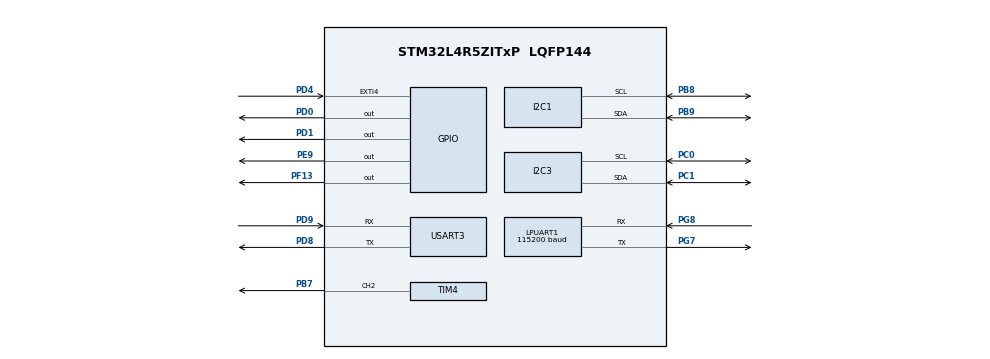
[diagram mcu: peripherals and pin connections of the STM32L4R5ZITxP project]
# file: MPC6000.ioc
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LPUART1.BaudRate=115200
LPUART1.WordLength=UART_WORDLENGTH_8B
Mcu.Family=STM32L4
Mcu.Name=STM32L4R5ZITxP
Mcu.Package=LQFP144
NVIC.EXTI4_IRQn=true\:0\:0\:false\:false\:true\:true\:true
NVIC.PriorityGroup=NVIC_PRIORITYGROUP_4
PA0.Signal=S_TIM2_CH1
PA1.Signal=ADCx_IN6
PA10.Signal=USB_OTG_FS_ID
PA13\ (JTMS/SWDIO).Signal=SYS_JTMS-SWDIO
PA14\ (JTCK/SWCLK).Signal=SYS_JTCK-SWCLK
PA3.Signal=ADCx_IN8
PA4.Signal=SPI1_NSS
PA5.Signal=SPI1_SCK
PA6.Signal=SPI1_MISO
PA7.Signal=SPI1_MOSI
PA8.Signal=USB_OTG_FS_SOF
PA9.Signal=USB_OTG_FS_VBUS
PB0.Signal=S_TIM3_CH3
PB1.Signal=ADCx_IN16
PB10.Signal=S_TIM2_CH3
PB12.Signal=SAI2_FS_A
PB13.Signal=SAI2_SCK_A
PB14.Signal=S_TIM15_CH1
PB15.Signal=SAI2_SD_A
PB2.Signal=COMP1_INP
PB3\ (JTDO/TRACESWO).Signal=SPI3_SCK
PB4\ (NJTRST).Signal=SPI3_MISO
PB5.Signal=SPI3_MOSI
PB6.Signal=COMP2_INP
PB7.Signal=S_TIM4_CH2
PB8.Mode=I2C
PB8.Signal=I2C1_SCL
PB9.Mode=I2C
PB9.Signal=I2C1_SDA
PC0.Mode=I2C
PC0.Signal=I2C3_SCL
PC1.Mode=I2C
PC1.Signal=I2C3_SDA
PC10.Signal=SDMMC1_D2
PC11.Signal=SDMMC1_D3
PC12.Signal=SDMMC1_CK
PC13.Signal=SYS_WKUP2
PC14-OSC32_IN\ (PC14).Signal=RCC_OSC32_IN
PC15-OSC32_OUT\ (PC15).Signal=RCC_OSC32_OUT
PC2.Signal=ADCx_IN3
PC3.Signal=ADCx_IN4
PC4.Signal=ADCx_IN13
PC5.Signal=ADCx_IN14
PC6.Signal=SAI2_MCLK_A
PC7.Signal=S_TIM3_CH2
PC8.Signal=SDMMC1_D0
PC9.Signal=SDMMC1_D1
PD0.Signal=GPIO_Output
PD1.Signal=GPIO_Output
PD14.Signal=S_TIM4_CH3
PD15.Signal=S_TIM4_CH4
PD2.Signal=SDMMC1_CMD
PD3.Signal=USART2_CTS
PD4.Signal=GPXTI4
PD5.Signal=USART2_TX
PD6.Signal=USART2_RX
PD8.Mode=Asynchronous
PD8.Signal=USART3_TX
PD9.Mode=Asynchronous
PD9.Signal=USART3_RX
PE0.Signal=S_TIM4_ETR
PE10.Signal=TIM1_CH2N
PE11.Signal=S_TIM1_CH2
PE12.Signal=TIM1_CH3N
PE13.Signal=S_TIM1_CH3
PE14.Signal=TIM1_BKIN2
PE15.Signal=TIM1_BKIN
PE2.Signal=SAI1_MCLK_A
PE3.Signal=SAI1_SD_B
PE7.Signal=S_TIM1_ETR
PE8.Signal=TIM1_CH1N
PE9.Signal=GPIO_Output
PF0.Signal=I2C2_SDA
PF1.Signal=I2C2_SCL
PF13.Signal=GPIO_Output
PF2.Signal=I2C2_SMBA
PF7.Signal=SAI1_MCLK_B
PG7.Mode=Asynchronous
PG7.Signal=LPUART1_TX
PG8.Mode=Asynchronous
PG8.Signal=LPUART1_RX
PH0-OSC_IN\ (PH0).Signal=RCC_OSC_IN
PH1-OSC_OUT\ (PH1).Signal=RCC_OSC_OUT
ProjectManager.HeapSize=0x200
ProjectManager.StackSize=0x400
ProjectManager.TargetToolchain=STM32CubeIDE
RCC.HSE_VALUE=8000000
RCC.HSI48_VALUE=48000000
RCC.HSI_VALUE=16000000
RCC.LSE_VALUE=32768
RCC.MSI_VALUE=4000000
RCC.VCOOutputFreq_Value=32000000
SH.ADCx_IN13.0=ADC1_IN13
SH.ADCx_IN14.0=ADC1_IN14
SH.ADCx_IN16.0=ADC1_IN16
SH.ADCx_IN3.0=ADC1_IN3
SH.ADCx_IN4.0=ADC1_IN4
SH.ADCx_IN6.0=ADC1_IN6
SH.ADCx_IN8.0=ADC1_IN8
SH.S_TIM15_CH1.0=TIM15_CH1
SH.S_TIM1_CH2.0=TIM1_CH2
SH.S_TIM1_CH3.0=TIM1_CH3
SH.S_TIM1_ETR.0=TIM1_ETR
SH.S_TIM2_CH1.0=TIM2_CH1
SH.S_TIM2_CH3.0=TIM2_CH3
SH.S_TIM3_CH2.0=TIM3_CH2
SH.S_TIM3_CH3.0=TIM3_CH3
SH.S_TIM4_CH2.0=TIM4_CH2,PWM Generation2 CH2
SH.S_TIM4_CH3.0=TIM4_CH3
SH.S_TIM4_CH4.0=TIM4_CH4
SH.S_TIM4_ETR.0=TIM4_ETR
TIM4.Channel-PWM\ Generation2\ CH2=TIM_CHANNEL_2
TIM4.OCPolarity_2=TIM_OCPOLARITY_HIGH
TIM4.Period=2000
TIM4.Pulse-PWM\ Generation2\ CH2=1000
USART3.VirtualMode-Asynchronous=VM_ASYNC
VP_TIM4_VS_ClockSourceINT.Mode=Internal
board=NUCLEO-L4R5ZI-P

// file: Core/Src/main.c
/* USER CODE BEGIN Header */
/**
  ******************************************************************************
  * @file           : main.c
  * @brief          : Main program body
  ******************************************************************************
  * @attention
  *
  * Copyright (c) 2022 STMicroelectronics.
  * All rights reserved.
  *
  * This software is licensed under terms that can be found in the LICENSE file
  * in the root directory of this software component.
  * If no LICENSE file comes with this software, it is provided AS-IS.
  *
  ******************************************************************************
  */
/* USER CODE END Header */
#include "main.h"

/* USER CODE BEGIN Includes */
#include <stdio.h>
#include <stdlib.h>

#include "HAL_FONA.h"

/* USER CODE END Includes */

/* USER CODE BEGIN PM */
#define MPU_SampleRate 80 /* in Hz */
#define FALL_DETECT_SAMPLES 40 /*in samples .. = 0.5 * MPU_SampleRate */
#define Write_HM 0xAA
#define Read_HM 0xAB
#define HM_ADDR 0x55 // Without w/r bit.

//#define ACC_LFT_SQ    0.09 /* 0.3 g */
//#define ACC_UFT_SQ 7.67 /* 2.77 g */
//#define GYR_UFT_SQ 64719.36 /* in 254.4 deg/s */

/* for demo only */
#define ACC_LFT_SQ 1.44 /* for demo */
#define ACC_UFT_SQ 7.67 /* 2.77 g */
#define GYR_UFT_SQ 0 /* for demo */

int fall_detected = 0;
// int initialized = 0;

/* USER CODE END PM */

I2C_HandleTypeDef hi2c1;
I2C_HandleTypeDef hi2c3;

UART_HandleTypeDef hlpuart1;
UART_HandleTypeDef huart3;

TIM_HandleTypeDef htim4;

/* USER CODE BEGIN PV */
extern char const * const ok_reply_c;
extern const int reply_buff_size_c;
extern const int fona_def_timeout_ms_c;

extern const HAL_GPIO_t rst_pin; // PF13
extern const HAL_GPIO_t pwr_pin; // PE09

static const GPIO_t rst_pin_c  = { GPIO_OUTPUT, 'D', 0 };
static const GPIO_t mfio_pin_c = { GPIO_OUTPUT, 'D', 1 };
static const uint8_t def_sample_rate = 100; // 100 Hz

char message_buffer[1024];
char const * const init_mess ="Hello World!";

/* USER CODE END PV */

void SystemClock_Config(void);
static void MX_GPIO_Init(void);
static void MX_I2C3_Init(void);
static void MX_LPUART1_UART_Init(void);
static void MX_TIM4_Init(void);
static void MX_USART3_UART_Init(void);
static void MX_I2C1_Init(void);
/* USER CODE BEGIN PFP */
void Beep_reset( );
/* USER CODE END PFP */

/* USER CODE BEGIN 0 */

/* MPU is connected to I2C3.
 * Here is the code that hanles I2C reads and writes to MPU
 * */

#define MPU_SAD_R 0b11010001 // The last bit corresponds to R
#define MPU_SAD_W 0b11010000

#define MPU_SAD 0b1101000
uint8_t MPUbuf[10] = {0};
void readMPU(uint8_t* val, uint8_t reg_addr, size_t len){
      HAL_StatusTypeDef ret;
      MPUbuf[0] = reg_addr;
      ret = HAL_I2C_Master_Transmit(&hi2c3, MPU_SAD_W, &MPUbuf[0], 1, 1000);
      if (ret != HAL_OK) {
          printf("Error reading Data from MPU reg: %d \n", reg_addr);
          return;
      }
      ret = HAL_I2C_Master_Receive(&hi2c3, MPU_SAD_R, &MPUbuf[0], len, 1000);
      if (ret != HAL_OK) printf("Error reading Data from MPU reg: %d size: %d\n", reg_addr, len);
      for(size_t i=0; i<len; i++)
          val[i] = MPUbuf[i];
}

void writeMPU(uint8_t val, uint8_t reg_addr){
    HAL_StatusTypeDef ret;
    MPUbuf[0] = reg_addr;
    MPUbuf[1] = val;
    ret = HAL_I2C_Master_Transmit(&hi2c3, MPU_SAD_W, &MPUbuf[0], 2, 1000);
    if (ret != HAL_OK) printf("Error writing to MPU reg: %d = %d\n", reg_addr, val);
}

#define MPU_SMPRT_DIV           0x19
#define MPU_CONFIG_REG          0x1a
#define MPU_GYRO_CONFIG         0x1b
#define MPU_ACC_CONFIG          0x1c
#define MPU_PWR_MGMT_1          0x6b
#define MPU_WHO_AM_I            0x75
#define MPU_INT_ENABLE          0x38
#define MPU_INT_STATUS          0x3a

/* measurements*/
#define MPU_ACC_X_OUT           0x3b
#define MPU_GYRO_X_OUT          0x43

#define MPU_OUTPUT_RATE         8000 // default output rate in Hz

int tryMPU(){
      uint8_t mpu_id;
      readMPU(&mpu_id, MPU_WHO_AM_I, 1);
      printf("Setting up MPU Device on I2C3...\n");
      if (mpu_id != 104) {
          printf("[ERROR] MPU I2C ID verification Failed!!!\n");
          return 1;
      }
      // reset and wait up from sleep
      uint8_t mpu_pwr_1= 0b10000000;
      writeMPU(mpu_pwr_1, MPU_PWR_MGMT_1);
      HAL_Delay(100);
      mpu_pwr_1 = 0;
      writeMPU(mpu_pwr_1, MPU_PWR_MGMT_1);

      // config sampling rate
      uint8_t mpu_sample_div = MPU_OUTPUT_RATE / MPU_SampleRate;
      writeMPU(mpu_sample_div, MPU_SMPRT_DIV);

      // config reg
      uint8_t mpu_config_reg;
      mpu_config_reg = 0b001 << 3;
      writeMPU(mpu_config_reg, MPU_CONFIG_REG);

      // gyro config
      uint8_t mpu_gyro_config = 0b11 << 3;
      writeMPU(mpu_gyro_config, MPU_GYRO_CONFIG);
      readMPU(&mpu_gyro_config, MPU_GYRO_CONFIG, 1);
      if (mpu_gyro_config != 0b11 << 3) {
          printf("[ERROR] MPU GyroMeter Setup Failed!!!");
          return 1;
      }

      // Acc config
      uint8_t mpu_acc_config;
      mpu_acc_config = 0b11 << 3;
      writeMPU(mpu_acc_config, MPU_ACC_CONFIG);
      readMPU(&mpu_acc_config, MPU_ACC_CONFIG, 1);
      if (mpu_acc_config != 0b11 << 3) {
          printf("[ERROR] MPU Acc Setup Failed!!!\n");
          return 1;
      }

      // Generate interrupt at each data ready
      // set DATA_RDY_EN = 1
      uint8_t mpu_int_enable;
      mpu_int_enable = 0b1;
      writeMPU(mpu_int_enable, MPU_INT_ENABLE);
      readMPU(&mpu_int_enable, MPU_INT_ENABLE, 1);
      if (mpu_int_enable != 1) {
          printf("[ERROR] MPU interrupt Setup Failed!!!\n");
          return 1;
      }

      printf("...MPU Setup Success\n");
      Beep_reset(); // Ok to enable interrupts now
      return 0;
}

void SetupMPU(){
    while(tryMPU()){
        HAL_Delay(100);
    }
}

void MPUSleep(){
    uint8_t mpu_pwr_1 = 1 << 6;
      writeMPU(mpu_pwr_1, MPU_PWR_MGMT_1);
}

typedef struct MPU_measure{
    float Accx;
    float Accy;
    float Accz;
    float Gyrx;
    float Gyry;
    float Gyrz;
}MPU_measure;

MPU_measure getMPU(){
    MPU_measure rt;
    // Read from x-axis:
      uint8_t raw_acc[6];
      readMPU(raw_acc, MPU_ACC_X_OUT, 6);
      int16_t raw_x, raw_y, raw_z;
      raw_x = raw_acc[0] << 8 | raw_acc[1];
      raw_y = raw_acc[2] << 8 | raw_acc[3];
      raw_z = raw_acc[4] << 8 | raw_acc[5];
      rt.Accx = (float)(raw_x)/2048.0;
      rt.Accy = (float)(raw_y)/2048.0;
      rt.Accz = (float)(raw_z)/2048.0;
//    printf("Acc X: %f Gs Y: %f Gs Z: %f Gs \n", Accx, Accy, Accz);
      uint8_t raw_gyro[6];
      readMPU(raw_gyro, MPU_GYRO_X_OUT, 6);
      int16_t raw_x_g, raw_y_g, raw_z_g;
      raw_x_g = raw_gyro[0] << 8 | raw_gyro[1];
      raw_y_g = raw_gyro[2] << 8 | raw_gyro[3];
      raw_z_g = raw_gyro[4] << 8 | raw_gyro[5];
      rt.Gyrx = (float)(raw_x_g)/65.532;
      rt.Gyry = (float)(raw_y_g)/65.532;
      rt.Gyrz = (float)(raw_z_g)/65.532;
//    printf("Gyro X: %f deg/s Y: %f deg/s Z: %f deg/s\n", Gx, Gy, Gz);
      return rt;
}

unsigned int fall_window=0;

/* pushes MPU data to usb */

void detect_fall(MPU_measure m){
    float accsq;
    accsq = m.Accx * m.Accx + m.Accy * m.Accy + m.Accz * m.Accz;
    if (accsq <= ACC_LFT_SQ && !fall_window)
        fall_window = FALL_DETECT_SAMPLES;
    if (!fall_window) return;
    fall_window--;
    if (accsq < ACC_UFT_SQ) return;
    float gyrsq;
    gyrsq = m.Gyrx * m.Gyrx + m.Gyry * m.Gyry + m.Gyrz * m.Gyrz;
    if (gyrsq < GYR_UFT_SQ) return;
    fall_detected = 1;
}
void push_MPU_data(MPU_measure m){
    printf("%f,%f,%f,%f,%f,%f,%d,%d\n", m.Accx, m.Accy, m.Accz, m.Gyrx, m.Gyry, m.Gyrz, fall_window, fall_detected);
}

void MPU_Interrupt(){
    if (fall_detected) return;
    /* read MPU */
    MPU_measure mpu_data = getMPU();
    push_MPU_data(mpu_data);
    detect_fall(mpu_data);

    /* clear interrupt*/
    uint8_t mpu_int_status;
    while(1){
        if (fall_detected) return;
        readMPU(&mpu_int_status, MPU_INT_STATUS, 1);
        if ((mpu_int_status & 0b1) != 1) {
            printf("[ERROR] MPU interrupt Clear Failed!!!!\n");
            continue;
        }
        break;
    }

}

void Beep_sos(){
    TIM4->ARR = 2000;
    for(int j=0; j<5; j++){
    for (int i=0; i<3; i++){
    TIM4->CCR2 = 1000;
    HAL_Delay(90);
    TIM4->CCR2 = 0;
    HAL_Delay(90);
    }
    for (int i=0; i<3; i++){
        TIM4->CCR2 = 1000;
        HAL_Delay(180);
        TIM4->CCR2 = 0;
        HAL_Delay(90);
        }
    for (int i=0; i<3; i++){
        TIM4->CCR2 = 1000;
        HAL_Delay(90);
        TIM4->CCR2 = 0;
        HAL_Delay(90);
    }
    HAL_Delay(300);
    }

}

void Beep_sendmsg_warning(){
    for (int i=0; i<6; i++){
        TIM4->ARR = 3000;
        TIM4->CCR2 = 1500;
        HAL_Delay(150);
        TIM4->ARR = 2000;
        TIM4->CCR2 = 1000;
        HAL_Delay(150);
    }
    TIM4->CCR2 =0;

}

void Beep_reset(){
    TIM4->ARR = 2000;
    TIM4->CCR2 = 1000;
    HAL_Delay(20);
    TIM4->ARR = 4000;
    TIM4->CCR2 = 2000;
    HAL_Delay(20);
    TIM4->CCR2 =0;
    printf( "Reset beeper!\n\r" );
}

/* USER CODE END 0 */

int main(void)
{
  /* USER CODE BEGIN 1 */
  Cellular_module_t cell;
  SparkFun_Bio_Sensor_t sensor;

  // NVIC_DisableIRQ(EXTI4_IRQn);
  /* USER CODE END 1 */

  /* MCU Configuration--------------------------------------------------------*/

  /* Reset of all peripherals, Initializes the Flash interface and the Systick. */
  HAL_Init();

  /* USER CODE BEGIN Init */
  cell.uart_ptr = &huart3;
  /* USER CODE END Init */

  /* Configure the system clock */
  SystemClock_Config();

  /* Initialize all configured peripherals */
  MX_GPIO_Init();
  MX_I2C3_Init();
  MX_LPUART1_UART_Init();
  MX_TIM4_Init();
  MX_USART3_UART_Init();
  MX_I2C1_Init();
  /* USER CODE BEGIN 2 */
  printf("\r\n");
  MPUSleep(); // Turn off interrupts if on
  printf( "Initializing!\n\r" );
  if ( !begin( &cell ) )
    {
    printf( "Failed initialization\n\r" );
    return 1;
    }
  else
    {
    printf( "Found SIM7000 using hardware serial\n\r" );
    }

  if ( !setNetworkSettings( &cell ) )
    {
    printf( "Network settings NOT set\n\r" );
    return 1;
    }
  else
    {
    printf( "Network settings set\n\r" );
    }
  // initialized = 1;

  if ( !enableGPS( &cell, true ) ){

		printf( "GPS enable has failed\n\t" );
		return 1;
	  }
	  else{
		printf( "GPS enable has worked\n\r" );
	  }

  /*biometric sensor setup*/
      /*--------------begin------------------*/
    	  HAL_StatusTypeDef ret;
    	  uint8_t buf[20];
    	  int HM_samples = 0x1;
    	  bio_sensor_init( &sensor, &hi2c1, HM_ADDR, rst_pin_c, mfio_pin_c, def_sample_rate, DISABLE );
    	  HAL_GPIO_WritePin(GPIOD, GPIO_PIN_0,  0); // Reset pin
    	  HAL_GPIO_WritePin(GPIOD, GPIO_PIN_1,  1); // MFIO pin
    	  HAL_Delay(10);
    	  HAL_GPIO_WritePin(GPIOD, GPIO_PIN_0,  1); // Reset is pulled
    	  HAL_Delay(50);
    	  HAL_Delay(1000);

    	  buf[0] = 0x02;
    	  buf[1] = 0x00;
    	  ret = HAL_I2C_Master_Transmit(&hi2c1, Write_HM, &buf[0], 2, 5000);
    	  HAL_Delay(6);
    	  ret = HAL_I2C_Master_Receive(&hi2c1, Read_HM, &buf[0], 2, 5000);
    	  printf("error code: %x application mode: %x\n\r", buf[0],buf[1]);
    	  set_pin_mode( &sensor._mfio_pin, IN );

    	  buf[0] = 0x50;
    	  buf[1] = 0x02; //says 02 in another place
    	  buf[2] = 0x0B;

    	  //A
    	  buf[3] = 0x00;
    	  buf[4] = 0x02;
    	  buf[5] = 0x6F;
    	  buf[6] = 0x60;

    	  //B
    	  buf[7] = 0xFF;
    	  buf[8] = 0xCB;
    	  buf[9] = 0x1D;
    	  buf[10] = 0x12;

    	    	//C
    	  buf[11] = 0x00;
    	  buf[12] = 0xAB;
    	  buf[13] = 0xF3;
    	  buf[14] = 0x7B;

    	ret = HAL_I2C_Master_Transmit(&hi2c1, Write_HM, &buf[0], 15, 5000);
    	  HAL_Delay(20);
    	  ret = HAL_I2C_Master_Receive(&hi2c1, Read_HM, &buf[0], 1, 5000);
    	  if(buf[0] != 0x00 || ret != HAL_OK ){
    		  printf("Error setting mode: code %x\n\r", buf[0]);
    	  }
    	printf("Callibrated SpO2!\n");

    	  /*set our mode to MODE 1*/
    	    buf[0] = 0x10;
    	    buf[1] = 0x00;
    	    buf[2] = 0x02;
    	    ret = HAL_I2C_Master_Transmit(&hi2c1, Write_HM, &buf[0], 3, 5000);
    	    HAL_Delay(6);
    	    ret = HAL_I2C_Master_Receive(&hi2c1, Read_HM, &buf[0], 1, 5000);
    	    if(buf[0] != 0x00 || ret != HAL_OK ){
    	        printf("Error setting mode: code %x\n\r", buf[0]);
    	    }
    	    printf("mode set to raw and algo\n");

    	    /*Set FIFO threshold as almost full at 0x0F*/
    	    buf[0] = 0x10;
    	    buf[1] = 0x01;
    	    buf[2] = 0x1;
    	    ret = HAL_I2C_Master_Transmit(&hi2c1, Write_HM, &buf[0], 3, 5000);
    	    HAL_Delay(6);
    	    ret = HAL_I2C_Master_Receive(&hi2c1, Read_HM, &buf[0], 1, 5000);
    	      if(buf[0] != 0x00 || ret != HAL_OK ){
    	        printf("Error setting FIFO threshold code: %x\n\r", buf[0]);
    	      }
    	    printf("fifo set\n");
    	    /*enable AGC*/
    	    buf[0] = 0x52;
    	      buf[1] = 0x00;
    	      buf[2] = 0x1;
    	      ret = HAL_I2C_Master_Transmit(&hi2c1, Write_HM, &buf[0], 3, 5000);
    	      HAL_Delay(25);
    	      ret = HAL_I2C_Master_Receive(&hi2c1, Read_HM, &buf[0], 1, 5000);
    	        if(buf[0] != 0x00 || ret != HAL_OK ){
    	          printf("Error Enabling Algorithm code: %x\n\r", buf[0]);
    	        }
    	       printf("enable AGC \n");

    	    /*enable the sensor*/
    	    buf[0] = 0x44;
    	    buf[1] = 0x03;
    	    buf[2] = 0x1;
    	    ret = HAL_I2C_Master_Transmit(&hi2c1, Write_HM, &buf[0], 3, 5000);
    	    HAL_Delay(45);
    	    ret = HAL_I2C_Master_Receive(&hi2c1, Read_HM, &buf[0], 1, 5000);
    	      if(buf[0] != 0x00 || ret != HAL_OK ){
    	        printf("Error enabling sensor code: %x\n\r", buf[0]);
    	      }
    	      printf("sensor set\n");

    	    /*enable the algorithm*/

    	      HAL_Delay(500);
    	    buf[0] = 0x52;
    	    buf[1] = 0x02;
    	    buf[2] = 0x1;
    	    ret = HAL_I2C_Master_Transmit(&hi2c1, Write_HM, &buf[0], 3, 5000);
    	    HAL_Delay(45);
    	    ret = HAL_I2C_Master_Receive(&hi2c1, Read_HM, &buf[0], 1, 5000);

    	      if(buf[0] != 0x00 || ret != HAL_OK ){
    	        printf("Error Enabling Algorithm code: %x\n\r", buf[0]);
    	      }
    	      printf("enable algorithm \n");

    	    //setting LED 2 amplitude
    	    buf[0] = 0x40;
    		buf[1] = 0x03;
    		buf[2] = 0x0D;
    		buf[3] = 0x7F;
    		ret = HAL_I2C_Master_Transmit(&hi2c1, Write_HM, &buf[0], 4, 5000);
    		HAL_Delay(45);
    		ret = HAL_I2C_Master_Receive(&hi2c1, Read_HM, &buf[0], 1, 5000);

    		  if(buf[0] != 0x00 || ret != HAL_OK ){
    			printf("Error Changing LED2: %x\n\r", buf[0]);
    		  }
    		  printf("modified LED2 amplitude \n");

    		  //setting LED 1 amplitude
    		buf[0] = 0x40;
    		buf[1] = 0x03;
    		buf[2] = 0x0C;
    		buf[3] = 0x7F;
    		ret = HAL_I2C_Master_Transmit(&hi2c1, Write_HM, &buf[0], 4, 5000);
    		HAL_Delay(45);
    		ret = HAL_I2C_Master_Receive(&hi2c1, Read_HM, &buf[0], 1, 5000);

    		  if(buf[0] != 0x00 || ret != HAL_OK ){
    			printf("Error Changing LED1: %x\n\r", buf[0]);
    		  }
    		  printf("modified LED1 amplitude \n");

	    HAL_Delay(1000);

  /*--------------end------------------*/

  /* USER CODE END 2 */

  /* Infinite loop */
  /* USER CODE BEGIN WHILE */
  fall_detected = 0;
  HAL_TIM_PWM_Start(&htim4, TIM_CHANNEL_2);
  SetupMPU();
  TIM4->CCR2 = 0;

  // Initialized at the beginning of the program.
  float latitude = 0.0;
  float longitude = 0.0;

  // NVIC_EnableIRQ(EXTI4_IRQn);
    while(1)
        {
        if (fall_detected)
            {
            MPUSleep(); /* turn off MPU */
            Beep_sos(); /* 30 sec */
            Beep_sendmsg_warning(); /* 3 sec */
            // read biometric sensor
            buf[0] = 0x12;
            buf[1] = 0x01;

            int heart_rate = 0;
            int heart_rate_count = 0;
            float blood_oxygen = 0;
            int blood_oxygen_count = 0;
            int status = 0;

            for(int i = 0; i < 100; ++i){
            	buf[0] = 0x00;
            	buf[1] = 0x00;
            	ret = HAL_I2C_Master_Transmit(&hi2c1, Write_HM, &buf[0], 2, 5000);
					  HAL_Delay(6);
					  ret = HAL_I2C_Master_Receive(&hi2c1, Read_HM, &buf[0], 2, 5000);
				printf("status: %d %d \n",buf[0], buf[1]);

				buf[0] = 0x12;
				buf[1] = 0x01;
            	ret = HAL_I2C_Master_Transmit(&hi2c1, Write_HM, &buf[0], 2, 5000);
				  HAL_Delay(6);
				  ret = HAL_I2C_Master_Receive(&hi2c1, Read_HM, &buf[0], 10, 5000);
				  printf("error code: %d ", buf[0]);
				  int heartRate = ((buf[1]) << 8);
				  printf("data: %d %d %d %d\n", buf[1], buf[2], buf[3], buf[6]);
				  heartRate |= (buf[2]);
				  heartRate = heartRate/10;
				  heart_rate += heartRate;
				  if(heartRate != 0){
					  heart_rate_count += 1;
				  }

				  // Confidence formatting
				  int confidence = buf[3];

				  //Blood oxygen level formatting
				  int oxygen = (buf[4]) << 8;
				  oxygen += buf[5];
				  blood_oxygen += oxygen/10.0;

				  if(blood_oxygen != 0){
					  blood_oxygen_count += 1;
					}

				  //"Machine State" - has a finger been detected?

				  status = buf[6];
				  printf( "heartrate: %d, status: %d, blood_oxygen %d, confidence: %d\n\r", heartRate, status, oxygen, confidence );

				  HAL_Delay(100);
            } // end for
            if (heart_rate_count!=0){
            heart_rate = heart_rate/heart_rate_count;
            }

            if (blood_oxygen_count!=0){
            blood_oxygen = blood_oxygen/blood_oxygen_count;
            }
            //get GPS

          for(int i = 0; i<10; i++)
              {
            	float lat = 0;
            	float lon= 0;
            	if ( !gGPS( &cell, &lat, &lon ) )
                  {
					        printf( "GPS read has failed \n\t");
				          } // end if
              else
                  {
                	latitude = lat;
				          longitude = lon;
				          break;
			            } // end else
			        } // for
          printf("status: %d", status);
          if(status != 3){
              sprintf(message_buffer, "SOS! Injured at %f latitude %f longitude. Finger is off the sensor! measured: heart rate: %d blood oxygen: %d", latitude, longitude, heart_rate, (int)blood_oxygen);
          }
          else {
              sprintf(message_buffer, "SOS! Injured at %f latitude %f longitude. Heart rate: %d blood oxygen: %d", latitude, longitude, heart_rate, (int)blood_oxygen);
          }

          // send out message
          printf( "Here's the sos message: %s\n\r", message_buffer );
          HAL_Delay( 1000 );
          sendSMS( &cell, message_buffer );
          fall_detected = 0;
          SetupMPU(); /* reset MPU */
            } // end if
        } // end while
    /* USER CODE END WHILE */

}

void SystemClock_Config(void)
{
  RCC_OscInitTypeDef RCC_OscInitStruct = {0};
  RCC_ClkInitTypeDef RCC_ClkInitStruct = {0};

  /** Configure the main internal regulator output voltage
  */
  if (HAL_PWREx_ControlVoltageScaling(PWR_REGULATOR_VOLTAGE_SCALE1) != HAL_OK)
  {
    Error_Handler();
  }
  /** Initializes the RCC Oscillators according to the specified parameters
  * in the RCC_OscInitTypeDef structure.
  */
  RCC_OscInitStruct.OscillatorType = RCC_OSCILLATORTYPE_MSI;
  RCC_OscInitStruct.MSIState = RCC_MSI_ON;
  RCC_OscInitStruct.MSICalibrationValue = 0;
  RCC_OscInitStruct.MSIClockRange = RCC_MSIRANGE_6;
  RCC_OscInitStruct.PLL.PLLState = RCC_PLL_NONE;
  if (HAL_RCC_OscConfig(&RCC_OscInitStruct) != HAL_OK)
  {
    Error_Handler();
  }
  /** Initializes the CPU, AHB and APB buses clocks
  */
  RCC_ClkInitStruct.ClockType = RCC_CLOCKTYPE_HCLK|RCC_CLOCKTYPE_SYSCLK
                              |RCC_CLOCKTYPE_PCLK1|RCC_CLOCKTYPE_PCLK2;
  RCC_ClkInitStruct.SYSCLKSource = RCC_SYSCLKSOURCE_MSI;
  RCC_ClkInitStruct.AHBCLKDivider = RCC_SYSCLK_DIV1;
  RCC_ClkInitStruct.APB1CLKDivider = RCC_HCLK_DIV1;
  RCC_ClkInitStruct.APB2CLKDivider = RCC_HCLK_DIV1;

  if (HAL_RCC_ClockConfig(&RCC_ClkInitStruct, FLASH_LATENCY_0) != HAL_OK)
  {
    Error_Handler();
  }
}

static void MX_I2C1_Init(void)
{

  hi2c1.Instance = I2C1;
  hi2c1.Init.Timing = 0x00000E14;
  hi2c1.Init.OwnAddress1 = 0;
  hi2c1.Init.AddressingMode = I2C_ADDRESSINGMODE_7BIT;
  hi2c1.Init.DualAddressMode = I2C_DUALADDRESS_DISABLE;
  hi2c1.Init.OwnAddress2 = 0;
  hi2c1.Init.OwnAddress2Masks = I2C_OA2_NOMASK;
  hi2c1.Init.GeneralCallMode = I2C_GENERALCALL_DISABLE;
  hi2c1.Init.NoStretchMode = I2C_NOSTRETCH_DISABLE;
  if (HAL_I2C_Init(&hi2c1) != HAL_OK)
  {
    Error_Handler();
  }
  /** Configure Analogue filter
  */
  if (HAL_I2CEx_ConfigAnalogFilter(&hi2c1, I2C_ANALOGFILTER_ENABLE) != HAL_OK)
  {
    Error_Handler();
  }
  /** Configure Digital filter
  */
  if (HAL_I2CEx_ConfigDigitalFilter(&hi2c1, 0) != HAL_OK)
  {
    Error_Handler();
  }

}

static void MX_I2C3_Init(void)
{

  hi2c3.Instance = I2C3;
  hi2c3.Init.Timing = 0x00000E14;
  hi2c3.Init.OwnAddress1 = 0;
  hi2c3.Init.AddressingMode = I2C_ADDRESSINGMODE_7BIT;
  hi2c3.Init.DualAddressMode = I2C_DUALADDRESS_DISABLE;
  hi2c3.Init.OwnAddress2 = 0;
  hi2c3.Init.OwnAddress2Masks = I2C_OA2_NOMASK;
  hi2c3.Init.GeneralCallMode = I2C_GENERALCALL_DISABLE;
  hi2c3.Init.NoStretchMode = I2C_NOSTRETCH_DISABLE;
  if (HAL_I2C_Init(&hi2c3) != HAL_OK)
  {
    Error_Handler();
  }
  /** Configure Analogue filter
  */
  if (HAL_I2CEx_ConfigAnalogFilter(&hi2c3, I2C_ANALOGFILTER_ENABLE) != HAL_OK)
  {
    Error_Handler();
  }
  /** Configure Digital filter
  */
  if (HAL_I2CEx_ConfigDigitalFilter(&hi2c3, 0) != HAL_OK)
  {
    Error_Handler();
  }

}

static void MX_LPUART1_UART_Init(void)
{

  hlpuart1.Instance = LPUART1;
  hlpuart1.Init.BaudRate = 115200;
  hlpuart1.Init.WordLength = UART_WORDLENGTH_8B;
  hlpuart1.Init.StopBits = UART_STOPBITS_1;
  hlpuart1.Init.Parity = UART_PARITY_NONE;
  hlpuart1.Init.Mode = UART_MODE_TX_RX;
  hlpuart1.Init.HwFlowCtl = UART_HWCONTROL_NONE;
  hlpuart1.Init.OneBitSampling = UART_ONE_BIT_SAMPLE_DISABLE;
  hlpuart1.Init.ClockPrescaler = UART_PRESCALER_DIV1;
  hlpuart1.AdvancedInit.AdvFeatureInit = UART_ADVFEATURE_NO_INIT;
  hlpuart1.FifoMode = UART_FIFOMODE_DISABLE;
  if (HAL_UART_Init(&hlpuart1) != HAL_OK)
  {
    Error_Handler();
  }
  if (HAL_UARTEx_SetTxFifoThreshold(&hlpuart1, UART_TXFIFO_THRESHOLD_1_8) != HAL_OK)
  {
    Error_Handler();
  }
  if (HAL_UARTEx_SetRxFifoThreshold(&hlpuart1, UART_RXFIFO_THRESHOLD_1_8) != HAL_OK)
  {
    Error_Handler();
  }
  if (HAL_UARTEx_DisableFifoMode(&hlpuart1) != HAL_OK)
  {
    Error_Handler();
  }

}

static void MX_USART3_UART_Init(void)
{

  huart3.Instance = USART3;
  huart3.Init.BaudRate = 115200;
  huart3.Init.WordLength = UART_WORDLENGTH_8B;
  huart3.Init.StopBits = UART_STOPBITS_1;
  huart3.Init.Parity = UART_PARITY_NONE;
  huart3.Init.Mode = UART_MODE_TX_RX;
  huart3.Init.HwFlowCtl = UART_HWCONTROL_NONE;
  huart3.Init.OverSampling = UART_OVERSAMPLING_16;
  huart3.Init.OneBitSampling = UART_ONE_BIT_SAMPLE_DISABLE;
  huart3.Init.ClockPrescaler = UART_PRESCALER_DIV1;
  huart3.AdvancedInit.AdvFeatureInit = UART_ADVFEATURE_NO_INIT;
  if (HAL_UART_Init(&huart3) != HAL_OK)
  {
    Error_Handler();
  }
  if (HAL_UARTEx_SetTxFifoThreshold(&huart3, UART_TXFIFO_THRESHOLD_1_8) != HAL_OK)
  {
    Error_Handler();
  }
  if (HAL_UARTEx_SetRxFifoThreshold(&huart3, UART_RXFIFO_THRESHOLD_1_8) != HAL_OK)
  {
    Error_Handler();
  }
  if (HAL_UARTEx_DisableFifoMode(&huart3) != HAL_OK)
  {
    Error_Handler();
  }

}

static void MX_TIM4_Init(void)
{

  TIM_ClockConfigTypeDef sClockSourceConfig = {0};
  TIM_MasterConfigTypeDef sMasterConfig = {0};
  TIM_OC_InitTypeDef sConfigOC = {0};

  htim4.Instance = TIM4;
  htim4.Init.Prescaler = 0;
  htim4.Init.CounterMode = TIM_COUNTERMODE_UP;
  htim4.Init.Period = 2000;
  htim4.Init.ClockDivision = TIM_CLOCKDIVISION_DIV1;
  htim4.Init.AutoReloadPreload = TIM_AUTORELOAD_PRELOAD_DISABLE;
  if (HAL_TIM_Base_Init(&htim4) != HAL_OK)
  {
    Error_Handler();
  }
  sClockSourceConfig.ClockSource = TIM_CLOCKSOURCE_INTERNAL;
  if (HAL_TIM_ConfigClockSource(&htim4, &sClockSourceConfig) != HAL_OK)
  {
    Error_Handler();
  }
  if (HAL_TIM_PWM_Init(&htim4) != HAL_OK)
  {
    Error_Handler();
  }
  sMasterConfig.MasterOutputTrigger = TIM_TRGO_RESET;
  sMasterConfig.MasterSlaveMode = TIM_MASTERSLAVEMODE_DISABLE;
  if (HAL_TIMEx_MasterConfigSynchronization(&htim4, &sMasterConfig) != HAL_OK)
  {
    Error_Handler();
  }
  sConfigOC.OCMode = TIM_OCMODE_PWM1;
  sConfigOC.Pulse = 1000;
  sConfigOC.OCPolarity = TIM_OCPOLARITY_HIGH;
  sConfigOC.OCFastMode = TIM_OCFAST_DISABLE;
  if (HAL_TIM_PWM_ConfigChannel(&htim4, &sConfigOC, TIM_CHANNEL_2) != HAL_OK)
  {
    Error_Handler();
  }
  HAL_TIM_MspPostInit(&htim4);

}

static void MX_GPIO_Init(void)
{
  GPIO_InitTypeDef GPIO_InitStruct = {0};

  /* GPIO Ports Clock Enable */
  __HAL_RCC_GPIOE_CLK_ENABLE();
  __HAL_RCC_GPIOC_CLK_ENABLE();
  __HAL_RCC_GPIOF_CLK_ENABLE();
  __HAL_RCC_GPIOH_CLK_ENABLE();
  __HAL_RCC_GPIOA_CLK_ENABLE();
  __HAL_RCC_GPIOB_CLK_ENABLE();
  __HAL_RCC_GPIOD_CLK_ENABLE();
  __HAL_RCC_GPIOG_CLK_ENABLE();
  HAL_PWREx_EnableVddIO2();

  /*Configure GPIO pin Output Level */
  HAL_GPIO_WritePin(GPIOF, GPIO_PIN_13, GPIO_PIN_RESET);

  /*Configure GPIO pin Output Level */
  HAL_GPIO_WritePin(GPIOE, GPIO_PIN_9, GPIO_PIN_RESET);

  /*Configure GPIO pin Output Level */
  HAL_GPIO_WritePin(GPIOD, GPIO_PIN_0|GPIO_PIN_1, GPIO_PIN_RESET);

  /*Configure GPIO pins : PE2 PE3 */
  GPIO_InitStruct.Pin = GPIO_PIN_2|GPIO_PIN_3;
  GPIO_InitStruct.Mode = GPIO_MODE_AF_PP;
  GPIO_InitStruct.Pull = GPIO_NOPULL;
  GPIO_InitStruct.Speed = GPIO_SPEED_FREQ_LOW;
  GPIO_InitStruct.Alternate = GPIO_AF13_SAI1;
  HAL_GPIO_Init(GPIOE, &GPIO_InitStruct);

  /*Configure GPIO pins : PF0 PF1 PF2 */
  GPIO_InitStruct.Pin = GPIO_PIN_0|GPIO_PIN_1|GPIO_PIN_2;
  GPIO_InitStruct.Mode = GPIO_MODE_AF_OD;
  GPIO_InitStruct.Pull = GPIO_NOPULL;
  GPIO_InitStruct.Speed = GPIO_SPEED_FREQ_VERY_HIGH;
  GPIO_InitStruct.Alternate = GPIO_AF4_I2C2;
  HAL_GPIO_Init(GPIOF, &GPIO_InitStruct);

  /*Configure GPIO pin : PF7 */
  GPIO_InitStruct.Pin = GPIO_PIN_7;
  GPIO_InitStruct.Mode = GPIO_MODE_AF_PP;
  GPIO_InitStruct.Pull = GPIO_NOPULL;
  GPIO_InitStruct.Speed = GPIO_SPEED_FREQ_LOW;
  GPIO_InitStruct.Alternate = GPIO_AF13_SAI1;
  HAL_GPIO_Init(GPIOF, &GPIO_InitStruct);

  /*Configure GPIO pins : PC2 PC3 PC4 PC5 */
  GPIO_InitStruct.Pin = GPIO_PIN_2|GPIO_PIN_3|GPIO_PIN_4|GPIO_PIN_5;
  GPIO_InitStruct.Mode = GPIO_MODE_ANALOG_ADC_CONTROL;
  GPIO_InitStruct.Pull = GPIO_NOPULL;
  HAL_GPIO_Init(GPIOC, &GPIO_InitStruct);

  /*Configure GPIO pin : PA0 */
  GPIO_InitStruct.Pin = GPIO_PIN_0;
  GPIO_InitStruct.Mode = GPIO_MODE_AF_PP;
  GPIO_InitStruct.Pull = GPIO_NOPULL;
  GPIO_InitStruct.Speed = GPIO_SPEED_FREQ_LOW;
  GPIO_InitStruct.Alternate = GPIO_AF1_TIM2;
  HAL_GPIO_Init(GPIOA, &GPIO_InitStruct);

  /*Configure GPIO pins : PA1 PA3 */
  GPIO_InitStruct.Pin = GPIO_PIN_1|GPIO_PIN_3;
  GPIO_InitStruct.Mode = GPIO_MODE_ANALOG_ADC_CONTROL;
  GPIO_InitStruct.Pull = GPIO_NOPULL;
  HAL_GPIO_Init(GPIOA, &GPIO_InitStruct);

  /*Configure GPIO pins : PA4 PA5 PA6 PA7 */
  GPIO_InitStruct.Pin = GPIO_PIN_4|GPIO_PIN_5|GPIO_PIN_6|GPIO_PIN_7;
  GPIO_InitStruct.Mode = GPIO_MODE_AF_PP;
  GPIO_InitStruct.Pull = GPIO_NOPULL;
  GPIO_InitStruct.Speed = GPIO_SPEED_FREQ_VERY_HIGH;
  GPIO_InitStruct.Alternate = GPIO_AF5_SPI1;
  HAL_GPIO_Init(GPIOA, &GPIO_InitStruct);

  /*Configure GPIO pin : PB0 */
  GPIO_InitStruct.Pin = GPIO_PIN_0;
  GPIO_InitStruct.Mode = GPIO_MODE_AF_PP;
  GPIO_InitStruct.Pull = GPIO_NOPULL;
  GPIO_InitStruct.Speed = GPIO_SPEED_FREQ_LOW;
  GPIO_InitStruct.Alternate = GPIO_AF2_TIM3;
  HAL_GPIO_Init(GPIOB, &GPIO_InitStruct);

  /*Configure GPIO pin : PB1 */
  GPIO_InitStruct.Pin = GPIO_PIN_1;
  GPIO_InitStruct.Mode = GPIO_MODE_ANALOG_ADC_CONTROL;
  GPIO_InitStruct.Pull = GPIO_NOPULL;
  HAL_GPIO_Init(GPIOB, &GPIO_InitStruct);

  /*Configure GPIO pins : PB2 PB6 */
  GPIO_InitStruct.Pin = GPIO_PIN_2|GPIO_PIN_6;
  GPIO_InitStruct.Mode = GPIO_MODE_ANALOG;
  GPIO_InitStruct.Pull = GPIO_NOPULL;
  HAL_GPIO_Init(GPIOB, &GPIO_InitStruct);

  /*Configure GPIO pin : PF13 */
  GPIO_InitStruct.Pin = GPIO_PIN_13;
  GPIO_InitStruct.Mode = GPIO_MODE_OUTPUT_PP;
  GPIO_InitStruct.Pull = GPIO_NOPULL;
  GPIO_InitStruct.Speed = GPIO_SPEED_FREQ_LOW;
  HAL_GPIO_Init(GPIOF, &GPIO_InitStruct);

  /*Configure GPIO pins : PE7 PE8 PE10 PE11
                           PE12 PE13 */
  GPIO_InitStruct.Pin = GPIO_PIN_7|GPIO_PIN_8|GPIO_PIN_10|GPIO_PIN_11
                          |GPIO_PIN_12|GPIO_PIN_13;
  GPIO_InitStruct.Mode = GPIO_MODE_AF_PP;
  GPIO_InitStruct.Pull = GPIO_NOPULL;
  GPIO_InitStruct.Speed = GPIO_SPEED_FREQ_LOW;
  GPIO_InitStruct.Alternate = GPIO_AF1_TIM1;
  HAL_GPIO_Init(GPIOE, &GPIO_InitStruct);

  /*Configure GPIO pin : PE9 */
  GPIO_InitStruct.Pin = GPIO_PIN_9;
  GPIO_InitStruct.Mode = GPIO_MODE_OUTPUT_PP;
  GPIO_InitStruct.Pull = GPIO_NOPULL;
  GPIO_InitStruct.Speed = GPIO_SPEED_FREQ_LOW;
  HAL_GPIO_Init(GPIOE, &GPIO_InitStruct);

  /*Configure GPIO pins : PE14 PE15 */
  GPIO_InitStruct.Pin = GPIO_PIN_14|GPIO_PIN_15;
  GPIO_InitStruct.Mode = GPIO_MODE_AF_PP;
  GPIO_InitStruct.Pull = GPIO_NOPULL;
  GPIO_InitStruct.Speed = GPIO_SPEED_FREQ_LOW;
  GPIO_InitStruct.Alternate = GPIO_AF3_TIM1_COMP1;
  HAL_GPIO_Init(GPIOE, &GPIO_InitStruct);

  /*Configure GPIO pin : PB10 */
  GPIO_InitStruct.Pin = GPIO_PIN_10;
  GPIO_InitStruct.Mode = GPIO_MODE_AF_PP;
  GPIO_InitStruct.Pull = GPIO_NOPULL;
  GPIO_InitStruct.Speed = GPIO_SPEED_FREQ_LOW;
  GPIO_InitStruct.Alternate = GPIO_AF1_TIM2;
  HAL_GPIO_Init(GPIOB, &GPIO_InitStruct);

  /*Configure GPIO pins : PB12 PB13 PB15 */
  GPIO_InitStruct.Pin = GPIO_PIN_12|GPIO_PIN_13|GPIO_PIN_15;
  GPIO_InitStruct.Mode = GPIO_MODE_AF_PP;
  GPIO_InitStruct.Pull = GPIO_NOPULL;
  GPIO_InitStruct.Speed = GPIO_SPEED_FREQ_LOW;
  GPIO_InitStruct.Alternate = GPIO_AF13_SAI2;
  HAL_GPIO_Init(GPIOB, &GPIO_InitStruct);

  /*Configure GPIO pin : PB14 */
  GPIO_InitStruct.Pin = GPIO_PIN_14;
  GPIO_InitStruct.Mode = GPIO_MODE_AF_PP;
  GPIO_InitStruct.Pull = GPIO_NOPULL;
  GPIO_InitStruct.Speed = GPIO_SPEED_FREQ_LOW;
  GPIO_InitStruct.Alternate = GPIO_AF14_TIM15;
  HAL_GPIO_Init(GPIOB, &GPIO_InitStruct);

  /*Configure GPIO pin : PC6 */
  GPIO_InitStruct.Pin = GPIO_PIN_6;
  GPIO_InitStruct.Mode = GPIO_MODE_AF_PP;
  GPIO_InitStruct.Pull = GPIO_NOPULL;
  GPIO_InitStruct.Speed = GPIO_SPEED_FREQ_LOW;
  GPIO_InitStruct.Alternate = GPIO_AF13_SAI2;
  HAL_GPIO_Init(GPIOC, &GPIO_InitStruct);

  /*Configure GPIO pin : PC7 */
  GPIO_InitStruct.Pin = GPIO_PIN_7;
  GPIO_InitStruct.Mode = GPIO_MODE_AF_PP;
  GPIO_InitStruct.Pull = GPIO_NOPULL;
  GPIO_InitStruct.Speed = GPIO_SPEED_FREQ_LOW;
  GPIO_InitStruct.Alternate = GPIO_AF2_TIM3;
  HAL_GPIO_Init(GPIOC, &GPIO_InitStruct);

  /*Configure GPIO pins : PC8 PC9 PC10 PC11
                           PC12 */
  GPIO_InitStruct.Pin = GPIO_PIN_8|GPIO_PIN_9|GPIO_PIN_10|GPIO_PIN_11
                          |GPIO_PIN_12;
  GPIO_InitStruct.Mode = GPIO_MODE_AF_PP;
  GPIO_InitStruct.Pull = GPIO_NOPULL;
  GPIO_InitStruct.Speed = GPIO_SPEED_FREQ_VERY_HIGH;
  GPIO_InitStruct.Alternate = GPIO_AF12_SDMMC1;
  HAL_GPIO_Init(GPIOC, &GPIO_InitStruct);

  /*Configure GPIO pins : PA8 PA10 */
  GPIO_InitStruct.Pin = GPIO_PIN_8|GPIO_PIN_10;
  GPIO_InitStruct.Mode = GPIO_MODE_AF_PP;
  GPIO_InitStruct.Pull = GPIO_NOPULL;
  GPIO_InitStruct.Speed = GPIO_SPEED_FREQ_VERY_HIGH;
  GPIO_InitStruct.Alternate = GPIO_AF10_OTG_FS;
  HAL_GPIO_Init(GPIOA, &GPIO_InitStruct);

  /*Configure GPIO pin : PA9 */
  GPIO_InitStruct.Pin = GPIO_PIN_9;
  GPIO_InitStruct.Mode = GPIO_MODE_INPUT;
  GPIO_InitStruct.Pull = GPIO_NOPULL;
  HAL_GPIO_Init(GPIOA, &GPIO_InitStruct);

  /*Configure GPIO pins : PD0 PD1 */
  GPIO_InitStruct.Pin = GPIO_PIN_0|GPIO_PIN_1;
  GPIO_InitStruct.Mode = GPIO_MODE_OUTPUT_PP;
  GPIO_InitStruct.Pull = GPIO_NOPULL;
  GPIO_InitStruct.Speed = GPIO_SPEED_FREQ_LOW;
  HAL_GPIO_Init(GPIOD, &GPIO_InitStruct);

  /*Configure GPIO pin : PD2 */
  GPIO_InitStruct.Pin = GPIO_PIN_2;
  GPIO_InitStruct.Mode = GPIO_MODE_AF_PP;
  GPIO_InitStruct.Pull = GPIO_NOPULL;
  GPIO_InitStruct.Speed = GPIO_SPEED_FREQ_VERY_HIGH;
  GPIO_InitStruct.Alternate = GPIO_AF12_SDMMC1;
  HAL_GPIO_Init(GPIOD, &GPIO_InitStruct);

  /*Configure GPIO pins : PD3 PD5 PD6 */
  GPIO_InitStruct.Pin = GPIO_PIN_3|GPIO_PIN_5|GPIO_PIN_6;
  GPIO_InitStruct.Mode = GPIO_MODE_AF_PP;
  GPIO_InitStruct.Pull = GPIO_NOPULL;
  GPIO_InitStruct.Speed = GPIO_SPEED_FREQ_VERY_HIGH;
  GPIO_InitStruct.Alternate = GPIO_AF7_USART2;
  HAL_GPIO_Init(GPIOD, &GPIO_InitStruct);

  /*Configure GPIO pin : PD4 */
  GPIO_InitStruct.Pin = GPIO_PIN_4;
  GPIO_InitStruct.Mode = GPIO_MODE_IT_RISING;
  GPIO_InitStruct.Pull = GPIO_NOPULL;
  HAL_GPIO_Init(GPIOD, &GPIO_InitStruct);

  /*Configure GPIO pins : PB3 PB4 PB5 */
  GPIO_InitStruct.Pin = GPIO_PIN_3|GPIO_PIN_4|GPIO_PIN_5;
  GPIO_InitStruct.Mode = GPIO_MODE_AF_PP;
  GPIO_InitStruct.Pull = GPIO_NOPULL;
  GPIO_InitStruct.Speed = GPIO_SPEED_FREQ_VERY_HIGH;
  GPIO_InitStruct.Alternate = GPIO_AF6_SPI3;
  HAL_GPIO_Init(GPIOB, &GPIO_InitStruct);

  /* EXTI interrupt init*/
  HAL_NVIC_SetPriority(EXTI4_IRQn, 0, 0);
  HAL_NVIC_EnableIRQ(EXTI4_IRQn);

}

/* USER CODE BEGIN 4 */
#ifdef __GNUC__
#define PUTCHAR_PROTOTYPE int __io_putchar(int ch)
#else
  #define PUTCHAR_PROTOTYPE int fputc(int ch, FILE *f)
#endif /* __GNUC__ */
PUTCHAR_PROTOTYPE
{
  HAL_UART_Transmit(&hlpuart1, (uint8_t *)&ch, 1, 0xFFFF);
  return ch;
}

/* USER CODE END 4 */

void Error_Handler(void)
{
  __disable_irq();
  while (1)
  {
  }
}
